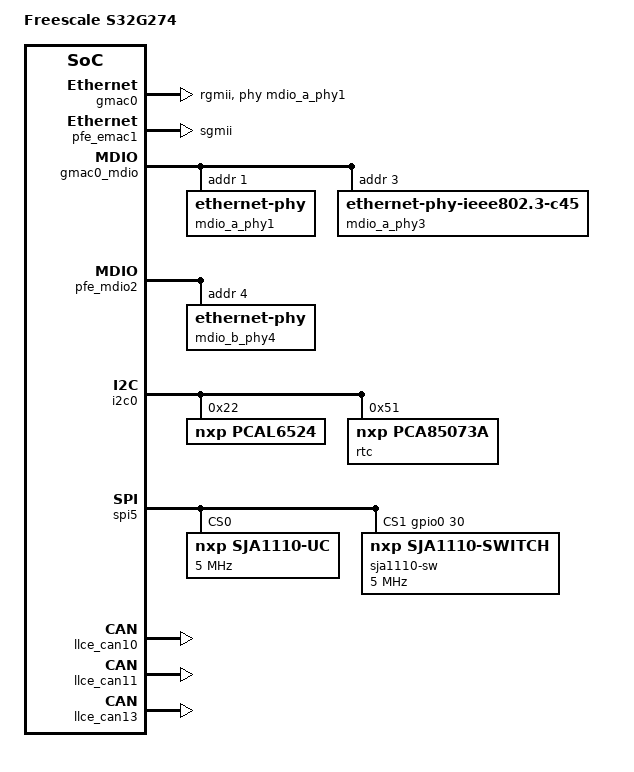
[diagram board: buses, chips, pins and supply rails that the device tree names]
// SPDX-License-Identifier: GPL-2.0-or-later
/*
 * Device Tree file for S32G274ARDB Board Rev C.
 *
 * Copyright 2020-2021 NXP
 *
 */

/dts-v1/;
#include "fsl-s32g274a-rdb.dtsi"
/ {
	model = "Freescale S32G274";
	compatible = "fsl,s32g274-simu", "fsl,s32g274",
				 "arm,vexpress,v2p-aarch64", "arm,vexpress";
};

&gmac0 {
	pinctrl-names = "default";
	pinctrl-0 = <&pinctrl0_gmac0_rgmii_a &pinctrl0_gmac0_mdio_a>;
	phy-mode = "rgmii";
	status = "okay";
	/* Connected to KSZ9031 MDIO_A */
	phy-handle = <&mdio_a_phy1>;
};

&pfe_logif1 {
	phy-handle = <&mdio_a_phy3>;
};

&pfe_emac1 {
	phy-mode = "sgmii";
};


&gmac0_mdio {
	/* KSZ9031 GMAC */
	mdio_a_phy1: ethernet-phy@1 {
		#address-cells = <1>;
		#size-cells = <0>;
		max-speed = <1000>;
		reg = <1>;
	};
	/* ARQ107 */
	mdio_a_phy3: ethernet-phy@3 {
		compatible = "ethernet-phy-ieee802.3-c45";
		#address-cells = <1>;
		#size-cells = <0>;
		reg = <3>;
	};
};

&pfe_mdio2 {
	/* AR8035 */
	mdio_b_phy4: ethernet-phy@4 {
		#address-cells = <1>;
		#size-cells = <0>;
		reg = <4>;
	};
	/* SJA1110's phys: 0x09-0x0e */
};

&i2c0 {
	pcal6524: gpio-expander@22 {
		compatible = "nxp,pcal6524";
		reg = <0x22>;
		gpio-controller;
		#gpio-cells = <2>;
	};

	rtc@51 {
		compatible = "nxp,pca85073a";
		reg = <0x51>;
		nxp,no-battery;
	};
};

&spi5 {
	/* 1 hardware cs and 1 gpio cs*/
	spi-num-chipselects = <1>;
	cs-gpios = <0>,<&gpio0 30 0>;

	sja1110-uc@0 {
		compatible = "nxp,sja1110-uc";
		spi-max-frequency = <5000000>;
		fsl,spi-cs-sck-delay = <50>;
		fsl,spi-sck-cs-delay = <50>;
		reg = <0>;
	};

	sja1110-sw@1 {
		compatible = "nxp,sja1110-switch";
		spi-max-frequency = <5000000>;
		fsl,spi-cs-sck-delay = <50>;
		fsl,spi-sck-cs-delay = <50>;
		reg = <1>;
	};
};

&llce_can10 {
	status = "okay";
};

&llce_can11 {
	status = "okay";
};

&llce_can13 {
	status = "okay";
};
